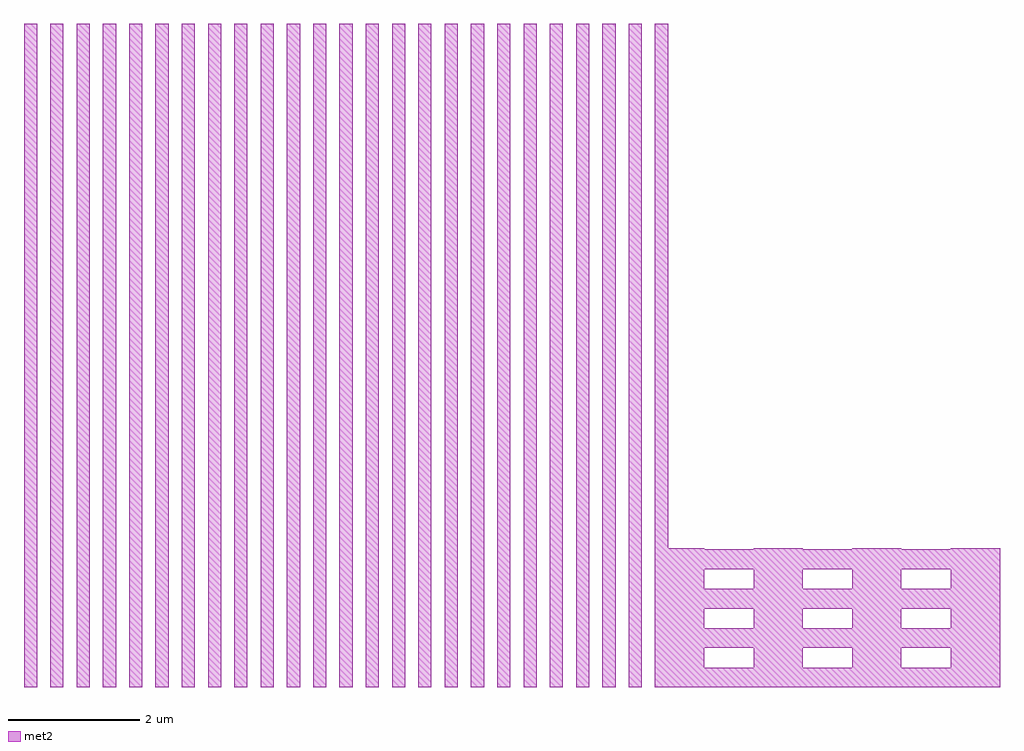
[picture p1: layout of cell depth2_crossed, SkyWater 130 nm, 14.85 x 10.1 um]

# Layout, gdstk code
import gdstk
lib = gdstk.Library(unit=1e-6, precision=1e-09)
def R(c, l, rs):  # rectangles x0, y0, x1, y1
    for r in rs: c.add(gdstk.rectangle(r[:2], r[2:], *l))
def A(c, l, x, y, w, h, nx, ny, dx, dy):  # array of equal rectangles
    R(c, l, [(x+i*dx, y+j*dy, x+i*dx+w, y+j*dy+h) for i in range(nx) for j in range(ny)])
met2 = (69, 20)

depth2_crossed = lib.new_cell('depth2_crossed')
A(depth2_crossed, met2, 0, 0, 0.2, 10.1, 25, 1, 0.4, 0)
A(depth2_crossed, met2, 9.6, 0, 4.5, 0.3, 1, 4, 0, 0.6)
A(depth2_crossed, met2, 9.6, 0, 0.75, 2.115, 4, 1, 1.5, 0)

lib.write_gds('depth2_crossed.gds')
